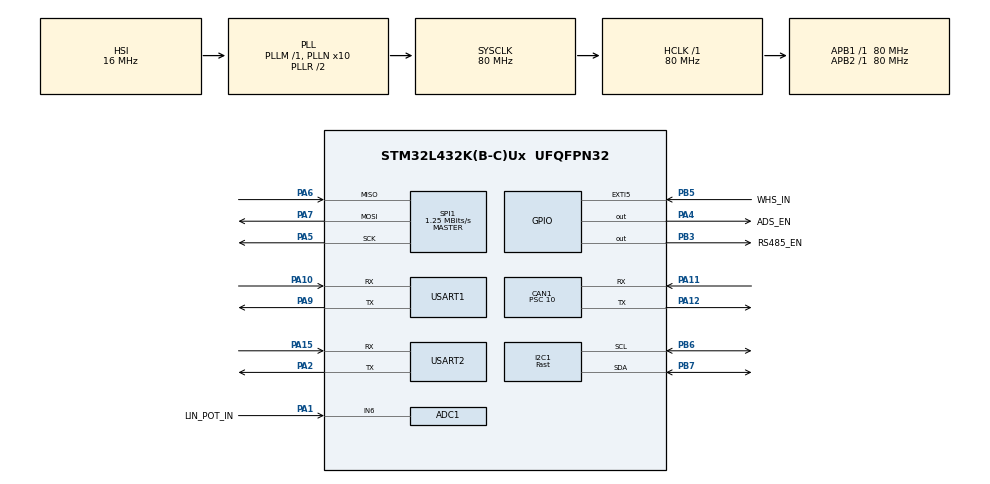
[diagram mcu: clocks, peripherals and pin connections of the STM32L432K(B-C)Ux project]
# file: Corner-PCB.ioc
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ADC1.Channel-3\#ChannelRegularConversion=ADC_CHANNEL_6
ADC1.ContinuousConvMode=DISABLE
ADC1.DMAContinuousRequests=DISABLE
ADC1.NbrOfConversionFlag=1
ADC1.OffsetNumber-3\#ChannelRegularConversion=ADC_OFFSET_NONE
ADC1.Rank-3\#ChannelRegularConversion=1
ADC1.SamplingTime-3\#ChannelRegularConversion=ADC_SAMPLETIME_2CYCLES_5
ADC1.master=1
CAN1.BS1=CAN_BS1_13TQ
CAN1.BS2=CAN_BS2_2TQ
CAN1.CalculateBaudRate=500000
CAN1.CalculateTimeBit=2000
CAN1.CalculateTimeQuantum=125.0
CAN1.Prescaler=10
Dma.ADC1.0.Direction=DMA_PERIPH_TO_MEMORY
Dma.ADC1.0.Instance=DMA1_Channel1
Dma.ADC1.0.MemDataAlignment=DMA_MDATAALIGN_HALFWORD
Dma.ADC1.0.MemInc=DMA_MINC_ENABLE
Dma.ADC1.0.Mode=DMA_CIRCULAR
Dma.ADC1.0.PeriphDataAlignment=DMA_PDATAALIGN_HALFWORD
Dma.ADC1.0.PeriphInc=DMA_PINC_DISABLE
Dma.ADC1.0.Priority=DMA_PRIORITY_LOW
Dma.Request0=ADC1
I2C1.I2C_Speed_Mode=I2C_Fast
I2C1.Timing=0x00F12981
Mcu.Family=STM32L4
Mcu.Name=STM32L432K(B-C)Ux
Mcu.Package=UFQFPN32
NVIC.DMA1_Channel1_IRQn=true\:0\:0\:false\:false\:true\:false\:true\:true
NVIC.EXTI9_5_IRQn=true\:0\:0\:false\:false\:true\:true\:true\:true
NVIC.PriorityGroup=NVIC_PRIORITYGROUP_4
PA1.GPIO_Label=LIN_POT_IN
PA1.Signal=ADCx_IN6
PA10.Mode=Asynchronous
PA10.Signal=USART1_RX
PA11.GPIO_PuPd=GPIO_PULLUP
PA11.Mode=CAN_Activate
PA11.Signal=CAN1_RX
PA12.Mode=CAN_Activate
PA12.Signal=CAN1_TX
PA13\ (JTMS-SWDIO).Mode=Serial_Wire
PA13\ (JTMS-SWDIO).Signal=SYS_JTMS-SWDIO
PA14\ (JTCK-SWCLK).Mode=Serial_Wire
PA14\ (JTCK-SWCLK).Signal=SYS_JTCK-SWCLK
PA15\ (JTDI).Mode=Asynchronous
PA15\ (JTDI).Signal=USART2_RX
PA2.Mode=Asynchronous
PA2.Signal=USART2_TX
PA4.GPIO_Label=ADS_EN
PA4.PinState=GPIO_PIN_SET
PA4.Signal=GPIO_Output
PA5.Mode=Full_Duplex_Master
PA5.Signal=SPI1_SCK
PA6.Mode=Full_Duplex_Master
PA6.Signal=SPI1_MISO
PA7.Mode=Full_Duplex_Master
PA7.Signal=SPI1_MOSI
PA9.Mode=Asynchronous
PA9.Signal=USART1_TX
PB3\ (JTDO-TRACESWO).GPIO_Label=RS485_EN
PB3\ (JTDO-TRACESWO).PinState=GPIO_PIN_SET
PB3\ (JTDO-TRACESWO).Signal=GPIO_Output
PB5.GPIO_Label=WHS_IN
PB5.GPIO_ModeDefaultEXTI=GPIO_MODE_IT_RISING_FALLING
PB5.Signal=GPXTI5
PB6.GPIO_FM6=__NULL
PB6.GPIO_Pu=GPIO_NOPULL
PB6.Mode=I2C
PB6.Signal=I2C1_SCL
PB7.GPIO_FM7=__NULL
PB7.GPIO_Pu=GPIO_NOPULL
PB7.Mode=I2C
PB7.Signal=I2C1_SDA
ProjectManager.HeapSize=0x200
ProjectManager.StackSize=0x400
ProjectManager.TargetToolchain=STM32CubeIDE
RCC.ADCFreq_Value=64000000
RCC.AHBFreq_Value=80000000
RCC.APB1Freq_Value=80000000
RCC.APB1TimFreq_Value=80000000
RCC.APB2Freq_Value=80000000
RCC.APB2TimFreq_Value=80000000
RCC.CortexFreq_Value=80000000
RCC.HCLKFreq_Value=80000000
RCC.HSE_VALUE=8000000
RCC.HSI16_VALUE=16000000
RCC.HSI48_VALUE=48000000
RCC.HSI_VALUE=16000000
RCC.LSE_VALUE=32768
RCC.MSI_VALUE=4000000
RCC.PLLMUL=RCC_PLLMUL_4
RCC.PLLN=10
RCC.PLLSourceVirtual=RCC_PLLSOURCE_HSI
RCC.SYSCLKFreq_VALUE=80000000
RCC.SYSCLKSource=RCC_SYSCLKSOURCE_PLLCLK
RCC.USBFreq_Value=64000000
RCC.VCOOutputFreq_Value=160000000
SH.ADCx_IN6.0=ADC1_IN6,IN6-Single-Ended
SPI1.BaudRatePrescaler=SPI_BAUDRATEPRESCALER_64
SPI1.CLKPhase=SPI_PHASE_2EDGE
SPI1.CalculateBaudRate=1.25 MBits/s
SPI1.DataSize=SPI_DATASIZE_8BIT
SPI1.Direction=SPI_DIRECTION_2LINES
SPI1.Mode=SPI_MODE_MASTER
SPI1.VirtualType=VM_MASTER
USART1.VirtualMode-Asynchronous=VM_ASYNC
USART2.VirtualMode-Asynchronous=VM_ASYNC
board=NUCLEO-L432KC

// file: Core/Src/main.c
/* USER CODE BEGIN Header */
/**
 ******************************************************************************
 * @file           : main.c
 * @brief          : Main program body
 ******************************************************************************
 * @attention
 *
 * Copyright (c) 2025 STMicroelectronics.
 * All rights reserved.
 *
 * This software is licensed under terms that can be found in the LICENSE file
 * in the root directory of this software component.
 * If no LICENSE file comes with this software, it is provided AS-IS.
 *
 ******************************************************************************
 */
/* USER CODE END Header */
#include "main.h"
#include "adc.h"
#include "can.h"
#include "dma.h"
#include "i2c.h"
#include "spi.h"
#include "usart.h"
#include "gpio.h"

/* USER CODE BEGIN Includes */
#include "sensor_read_helpers.h"
/* USER CODE END Includes */

/* USER CODE BEGIN PM */
#define PUTCHAR_PROTOTYPE int __io_putchar(int ch)

/* USER CODE END PM */

/* USER CODE BEGIN PV */

struct CORNER_CAN_CONTEXT CANCONTEXT;
bool linpot_status;
bool mlx_status;
bool ads_status;

/* private variables to keep track of when last read was */
uint32_t ms_since_linpot_read;
uint32_t ms_since_strain_read;
uint32_t ms_since_ttemp_read;
uint32_t ms_since_btemp_read;
uint32_t ms_since_whs_read;
uint32_t ms_since_boardtemp_read;

uint32_t ms_since_miscmsg_broadcast;
uint32_t ms_since_strain_broadcast;
uint32_t ms_since_ttemp_broadcast;

CAN_TxHeaderTypeDef CTXHeader;

GPIO_PinState debug;
/* USER CODE END PV */

void SystemClock_Config(void);

int main(void)
{

  /* MCU Configuration--------------------------------------------------------*/

  /* Reset of all peripherals, Initializes the Flash interface and the Systick. */
  HAL_Init();

  /* Configure the system clock */
  SystemClock_Config();

  /* Initialize all configured peripherals */
  MX_GPIO_Init();
  MX_DMA_Init();
  MX_ADC1_Init();
  MX_CAN1_Init();
  MX_I2C1_Init();
  MX_SPI1_Init();
  MX_USART1_UART_Init();
  MX_USART2_UART_Init();
  /* USER CODE BEGIN 2 */
  CTXHeader.RTR = CAN_RTR_DATA;
  CTXHeader.DLC = 8;
  	HAL_CAN_Start(&hcan1); // NEED TO CALL THIS OTHERWISE EVERYTHING BUGS OUT

    initializeWheelSpeed();
    linpot_status = initializeLinPot(&hadc1);
//    mlx_status = initializeTireTemp();
    ads_status = initializeStrainGauge(&hspi1);

  /* USER CODE END 2 */

  /* Infinite loop */
  /* USER CODE BEGIN WHILE */
//    while(1) {
//    	debug = HAL_GPIO_ReadPin(WHS_IN_GPIO_Port, WHS_IN_Pin);
//    }
	while (1) {
		readStrainGauges(&hspi1, &ms_since_strain_read, &(CANCONTEXT.straingauge_dataframe));
		readWheelSpeed(&ms_since_whs_read, &(CANCONTEXT.misc_dataframe));
//		readBrakeTemp(&ms_since_btemp_read, &(CANCONTEXT.misc_dataframe));
		if (!TTEMP_DISABLED) readTireTemp(&ms_since_ttemp_read, (CANCONTEXT.ttemp_dataframes));
		readLinearPotentiometer(&hadc1, &ms_since_linpot_read, &(CANCONTEXT.misc_dataframe));
//		readBoardTemp(&hspi1, &ms_since_boardtemp_read, &(CANCONTEXT.misc_dataframe));
		CANMailman(&hcan1, &CTXHeader, &CANCONTEXT);
    /* USER CODE END WHILE */

	}
}

void SystemClock_Config(void)
{
  RCC_OscInitTypeDef RCC_OscInitStruct = {0};
  RCC_ClkInitTypeDef RCC_ClkInitStruct = {0};

  /** Configure the main internal regulator output voltage
  */
  if (HAL_PWREx_ControlVoltageScaling(PWR_REGULATOR_VOLTAGE_SCALE1) != HAL_OK)
  {
    Error_Handler();
  }

  /** Initializes the RCC Oscillators according to the specified parameters
  * in the RCC_OscInitTypeDef structure.
  */
  RCC_OscInitStruct.OscillatorType = RCC_OSCILLATORTYPE_HSI;
  RCC_OscInitStruct.HSIState = RCC_HSI_ON;
  RCC_OscInitStruct.HSICalibrationValue = RCC_HSICALIBRATION_DEFAULT;
  RCC_OscInitStruct.PLL.PLLState = RCC_PLL_ON;
  RCC_OscInitStruct.PLL.PLLSource = RCC_PLLSOURCE_HSI;
  RCC_OscInitStruct.PLL.PLLM = 1;
  RCC_OscInitStruct.PLL.PLLN = 10;
  RCC_OscInitStruct.PLL.PLLP = RCC_PLLP_DIV7;
  RCC_OscInitStruct.PLL.PLLQ = RCC_PLLQ_DIV2;
  RCC_OscInitStruct.PLL.PLLR = RCC_PLLR_DIV2;
  if (HAL_RCC_OscConfig(&RCC_OscInitStruct) != HAL_OK)
  {
    Error_Handler();
  }

  /** Initializes the CPU, AHB and APB buses clocks
  */
  RCC_ClkInitStruct.ClockType = RCC_CLOCKTYPE_HCLK|RCC_CLOCKTYPE_SYSCLK
                              |RCC_CLOCKTYPE_PCLK1|RCC_CLOCKTYPE_PCLK2;
  RCC_ClkInitStruct.SYSCLKSource = RCC_SYSCLKSOURCE_PLLCLK;
  RCC_ClkInitStruct.AHBCLKDivider = RCC_SYSCLK_DIV1;
  RCC_ClkInitStruct.APB1CLKDivider = RCC_HCLK_DIV1;
  RCC_ClkInitStruct.APB2CLKDivider = RCC_HCLK_DIV1;

  if (HAL_RCC_ClockConfig(&RCC_ClkInitStruct, FLASH_LATENCY_4) != HAL_OK)
  {
    Error_Handler();
  }
}

/* USER CODE BEGIN 4 */
PUTCHAR_PROTOTYPE
{
	/* Place your implementation of fputc here */
	/* e.g. write a character to the LPUART1 and Loop until the end of transmission */
	HAL_UART_Transmit(&huart2, (uint8_t *)&ch, 1, 0xFFFF);

	return ch;
}
/* USER CODE END 4 */

void Error_Handler(void)
{
	__disable_irq();
	while (1)
	{
	}
}
